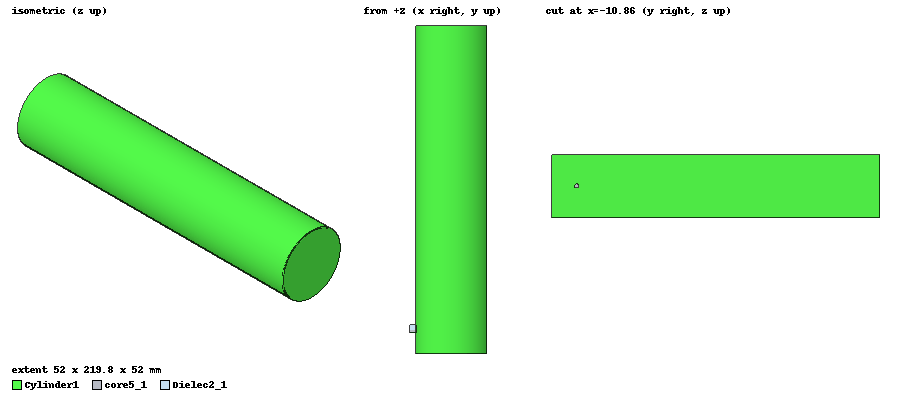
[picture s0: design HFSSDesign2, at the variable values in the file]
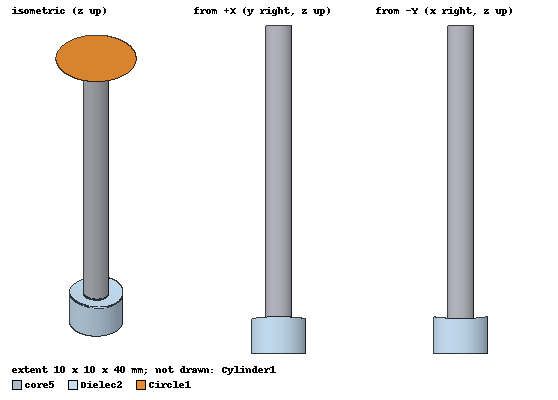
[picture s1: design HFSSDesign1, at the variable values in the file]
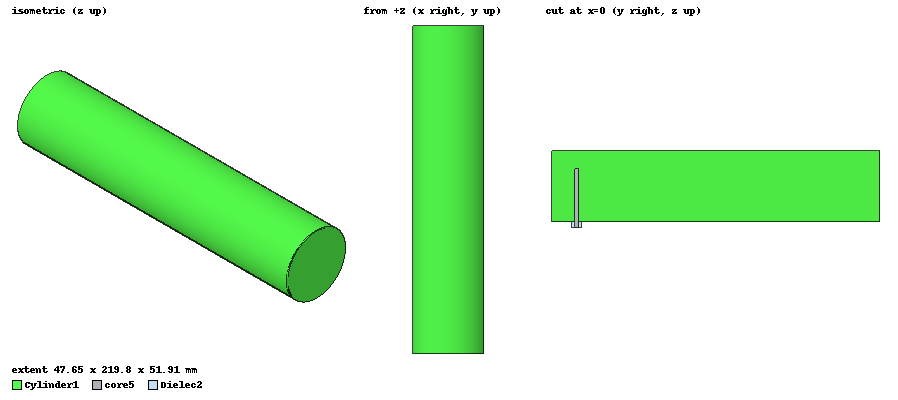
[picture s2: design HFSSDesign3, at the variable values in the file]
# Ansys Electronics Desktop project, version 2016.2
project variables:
  $Pin_length = 10mm
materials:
  vacuum: permittivity=1
  Teflon (tm): permittivity=2.1 dielectric_loss_tangent=0.001
  copper: permeability=0.999991 conductivity=58000000
  pec: conductivity=1e+30

design HFSSDesign2 (HFSS, DrivenModal, model units mm)
options: Calculate_Lossy_Dielectrics
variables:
  Ro = 3.205mm
  t = 0.235611mm
  Ri = 1.351mm
  zce = 4.352mm  # optimise 0.1mm..30mm
  ycer = (0.016770509831248*1000) mm
  Hc = 34.63mm  # optimise 0.1mm..40mm
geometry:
  Cylinder1 [vacuum] = cylinder(axis=Y, base_centre=(0mm, 0mm, 0mm), radius=0.023824072meter, height=(0.02197770609155983*1000*10) mm)
  coordinate_system RelativeCS1 = origin=(30mm, 2.13mm, -6mm) x=(1mm, 0mm, 0mm) y=(0mm, 1mm, 0mm)
  coordinate_system RelativeCS2 = origin=(-30mm, -2.13mm, 6mm) x=(1mm, 0mm, 0mm) y=(0mm, 1mm, 0mm) in RelativeCS1
  Dielec2 [vacuum] = cylinder(axis=Z, base_centre=(0meter, ycer, -0.023824071643967-zce), radius=Ro-t, height=5mm) in RelativeCS2
  core4 = cylinder(axis=Z, base_centre=(0meter, 0meter, -0.023824072meter), radius=Ri, height=6mm) in RelativeCS2
  Cylinder3_3 = core4.copy()
  Dielec2.subtract(Cylinder3_3)
  core4.delete()
  core5 [pec] = cylinder(axis=Z, base_centre=(0meter, ycer, -0.023824071643967-zce), radius=Ri, height=Hc) in RelativeCS2
  core5_1 [pec] = core5.duplicate_around_axis(axis=Y, angle=90deg, total=2) in RelativeCS2
  Dielec2_1 [vacuum] = Dielec2.duplicate_around_axis(axis=Y, angle=90deg, total=2) in RelativeCS2
  Cylinder1_2 = Cylinder1.copy()
  Dielec2_1.subtract(Cylinder1_2)
  Cylinder1_3 = Cylinder1.copy()
  Dielec2.subtract(Cylinder1_3)
  coordinate_system RelativeCS3 = origin=(30mm, 2.13mm, -6mm) x=(1mm, 0mm, 0mm) y=(0mm, 1mm, 0mm) in RelativeCS2
  coordinate_system RelativeCS4 = origin=(-30mm, -2.13mm, 6mm) x=(1mm, 0mm, 0mm) y=(0mm, 1mm, 0mm) in RelativeCS3
  core5_1_1 = core5_1.copy()
  Cylinder1.subtract(core5_1_1)
  core5_3 = core5.copy()
  Dielec2.subtract(core5_3)
  core5_1_3 = core5_1.copy()
  Dielec2_1.subtract(core5_1_3)
  core5.move(0mm, 0.04330127meter, 0mm) in RelativeCS2
  Dielec2.move(0mm, 43.30127mm, 0mm) in RelativeCS2
  core5_5 = core5.copy()
  Cylinder1.subtract(core5_5)
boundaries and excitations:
  PerfE1: Perfect E Faces=Dielec2.face(1 of 3)
  PerfE2: Perfect E Faces=Dielec2_1.face(1 of 3)
  2: Wave Port Faces=Dielec2_1.face(2 of 3) NumModes=1 Modes{Mode1{CharImp=Zpi}}
  3: Wave Port Faces=Cylinder1.face(3 of 3) NumModes=1 Modes{Mode1{IntLine{centre of Cylinder1.face(3 of 3) -> Cylinder1.vertex(2 of 2)} CharImp=Zpi}}
  4: Wave Port Faces=Dielec2.face(2 of 3) NumModes=1 Modes{Mode1{CharImp=Zpi}}
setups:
  Setup1: HfssDriven Frequency=6GHz MaxDeltaS=0.02 MaximumPasses=6 MinimumPasses=1 MinimumConvergedPasses=1 PercentRefinement=30 BasisOrder=1 PortAccuracy=2
    sweep Sweep: 5GHz to 7.5GHz, 25 points; Type=Fast
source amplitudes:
  2:1: 1W 90deg
  3:1, 4:1: 0W 0deg
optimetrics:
  OptimizationSetup1: Optimization Optimizer=SNLP AnalysisStopOptions{StopForNumIteration MaxNumIteration=1000 MinNumIteration=10} CostFuncNormType=L2 Acceptable_Cost=0 Noise=0.0001 UpdateDesignWhenDone
    vary zce: Min=0.01mm Max=20mm MinStep=0.035mm MaxStep=0.35mm MinFocus=1.75mm MaxFocus=5.25mm start=3.74mm
    goal dB(S(2,4)) <= -15 weight 3 on Setup1 : Sweep at Freq 4GHz to 8GHz
    goal dB(S(4,4)) <= -15 weight 2 on Setup1 : Sweep at Freq 4GHz to 8GHz
    goal dB(S(3,3)) <= -15 weight 2 on Setup1 : Sweep at Freq 4GHz to 8GHz
    goal dB(S(2,2)) <= -15 weight 2 on Setup1 : Sweep at Freq 4GHz to 8GHz
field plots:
  Mag_E1: E Field over Cylinder1.face(1 of 3) on Setup1 : LastAdaptive at Freq=6GHz Phase=0deg
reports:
  XY Plot 1: dB(S(2,2)) vs Freq on Setup1 : Sweep [zce=all Hc=all]
  XY Plot 2: dB(S(3,3)) vs Freq on Setup1 : Sweep [zce=all Hc=all]
  XY Plot 3: dB(S(2,4)) vs Freq on Setup1 : Sweep [zce=all Hc=all]
  XY Plot 4: dB(S(4,4)) vs Freq on Setup1 : Sweep [zce=all Hc=all]

design HFSSDesign1 (HFSS, DrivenModal, model units mm)
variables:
  Ri = 1.5738293mm  # optimise 0.1755mm..2mm
  zce = 4.2628137mm  # optimise 2.176mm..6.528mm
  ycer = 16.7705mm
  Hc = 35.7361mm
  Ro = Ri+Rd
  t = 0.235611mm
  Rd = 2mm  # optimise 0.3mm..4.8062688070314mm
  RK = 5mm  # optimise 2mm..7.5mm
  Rout = 3.6326395mm
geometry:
  Cylinder1 [vacuum] = cylinder(axis=Y, base_centre=(0mm, 0mm, 0mm), radius=0.023824072meter, height=(0.02197770609155983*1000*10) mm)
  coordinate_system RelativeCS1 = origin=(30mm, 2.13mm, -6mm) x=(1mm, 0mm, 0mm) y=(0mm, 1mm, 0mm)
  coordinate_system RelativeCS2 = origin=(-30mm, -2.13mm, 6mm) x=(1mm, 0mm, 0mm) y=(0mm, 1mm, 0mm) in RelativeCS1
  core5 [pec] = cylinder(axis=Z, base_centre=(0meter, ycer, -0.023824071643967-zce), radius=Ri, height=Hc+zce) in RelativeCS2
  core5_3 = core5.copy()
  core5_5 = core5.copy()
  Cylinder1.subtract(core5_5)
  Dielec2 [vacuum] = cylinder(axis=Z, base_centre=(0meter, ycer, -0.023824071643967-zce), radius=Ro-t, height=5mm) in RelativeCS2
  Dielec2.subtract(core5_3)
  Cylinder1_4 = Cylinder1.copy()
  Dielec2.subtract(Cylinder1_4)
  Circle1 = circle(normal=Z, centre=(0mm, ycer, -0.023824071643967+Hc), radius=Rk) in RelativeCS2
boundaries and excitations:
  PerfE1: Perfect E Objects=Circle1
  1: Wave Port Faces=Dielec2.face(2 of 3) NumModes=1 Modes{Mode1{CharImp=Zpi}}
  2: Wave Port Faces=Cylinder1.face(3 of 3) NumModes=1 Modes{Mode1{IntLine{centre of Cylinder1.face(3 of 3) -> Cylinder1.edge(2 of 2) at 0.25 along} CharImp=Zpi}}
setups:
  Setup1: HfssDriven Frequency=6GHz MaxDeltaS=0.02 MaximumPasses=7 MinimumPasses=1 MinimumConvergedPasses=1 PercentRefinement=30 BasisOrder=1 PortAccuracy=2
    sweep Sweep: 4GHz to 8GHz, 40 points; Type=Fast
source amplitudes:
  1:1: 1W 0deg
  2:1: 0W 0deg
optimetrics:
  OptimizationSetup1: Optimization Optimizer=SNLP AnalysisStopOptions{StopForNumIteration MaxNumIteration=1000 MinNumIteration=10} CostFuncNormType=L2 Acceptable_Cost=0 Noise=0.0001 UpdateDesignWhenDone
    vary Ri: Min=0.1755mm Max=4mm MinStep=0.01351mm MaxStep=0.1351mm MinFocus=0.1755mm MaxFocus=2mm start=1.09333mm
    vary zce: Min=2.176mm Max=15mm MinStep=0.04352mm MaxStep=0.4352mm MinFocus=2.176mm MaxFocus=6.528mm start=4.352mm
    goal (dB(S(1,1))) <= -20 weight 1 on Setup1 : Sweep at Freq 4GHz to 8GHz
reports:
  XY Plot 1: dB(S(1,1)) vs Freq on Setup1 : Sweep [Ri=all zce=all ycer=all Rd=all]

design HFSSDesign3 (HFSS, DrivenModal, model units mm)
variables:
  Ri = 1.5738293mm  # optimise 0.786914658803065mm..2.3607439764092mm
  zce = 4.2628137mm  # optimise 2.13140684224983mm..6.39422052674948mm
  ycer = 16.7705mm
  Hc = 35.7361mm  # optimise 17.86805mm..53.60415mm
  Ro = Ri+Rd
  t = 0.235611mm
  Rd = 2mm  # optimise 1mm..3mm
  RK = 5mm
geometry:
  Cylinder1 [vacuum] = cylinder(axis=Y, base_centre=(0mm, 0mm, 0mm), radius=0.023824072meter, height=(0.02197770609155983*1000*10) mm)
  coordinate_system RelativeCS1 = origin=(30mm, 2.13mm, -6mm) x=(1mm, 0mm, 0mm) y=(0mm, 1mm, 0mm)
  coordinate_system RelativeCS2 = origin=(-30mm, -2.13mm, 6mm) x=(1mm, 0mm, 0mm) y=(0mm, 1mm, 0mm) in RelativeCS1
  core5 [pec] = cylinder(axis=Z, base_centre=(0meter, ycer, -0.023824071643967-zce), radius=Ri, height=Hc+zce) in RelativeCS2
  core5_3 = core5.copy()
  core5_5 = core5.copy()
  Cylinder1.subtract(core5_5)
  Cylinder1_4 = Cylinder1.copy()
  Dielec2 [vacuum] = cylinder(axis=Z, base_centre=(0meter, ycer, -0.023824071643967-zce), radius=Ro-t, height=5mm) in RelativeCS2
  Dielec2.subtract(core5_3)
  Dielec2.subtract(Cylinder1_4)
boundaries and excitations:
  1: Wave Port Faces=Cylinder1.face(3 of 3) NumModes=1 Modes{Mode1{IntLine{centre of Cylinder1.face(3 of 3) -> Cylinder1.vertex(2 of 2)} CharImp=Zpi}}
  2: Wave Port Faces=Dielec2.face(2 of 3) NumModes=1 Modes{Mode1{IntLine{Dielec2.edge(at (-1.57383, 16.7705, -28.0869)) at 0.25 along -> Dielec2.edge(1 of 2) at -0.25 along} CharImp=Zpi}}
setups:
  Setup1: HfssDriven Frequency=6GHz MaxDeltaS=0.02 MaximumPasses=6 MinimumPasses=1 MinimumConvergedPasses=1 PercentRefinement=30 BasisOrder=1 PortAccuracy=2
    sweep Sweep: 5.5GHz to 8GHz, 25 points; Type=Discrete
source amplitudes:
  1:1: 1W 0deg
  2:1: 0W 0deg
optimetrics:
  OptimizationSetup1: Optimization Optimizer=SNLP AnalysisStopOptions{StopForNumIteration MaxNumIteration=1000 MinNumIteration=10} CostFuncNormType=L2 Acceptable_Cost=0 Noise=0.0001 UpdateDesignWhenDone
    vary Rd: Min=0.5mm Max=3mm MinStep=0.02mm MaxStep=0.2mm MinFocus=1mm MaxFocus=3mm start=2mm
    vary Ri: Min=0.3mm Max=2.360744mm MinStep=0.015738293mm MaxStep=0.15738293mm MinFocus=0.78691466mm MaxFocus=2.360744mm start=1.5738293mm
    vary zce: Min=1mm Max=7mm MinStep=0.042628137mm MaxStep=0.42628137mm MinFocus=2.1314068mm MaxFocus=6.3942205mm start=4.2628137mm
    goal dB(S(1,1)) <= -15 weight 1 on Setup1 : Sweep at Freq 5.5GHz to 5.5GHz
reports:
  XY Plot 1: dB(S(1,1)) vs Freq on Setup1 : Sweep [Ri=all zce=all Hc=all Rd=all]
